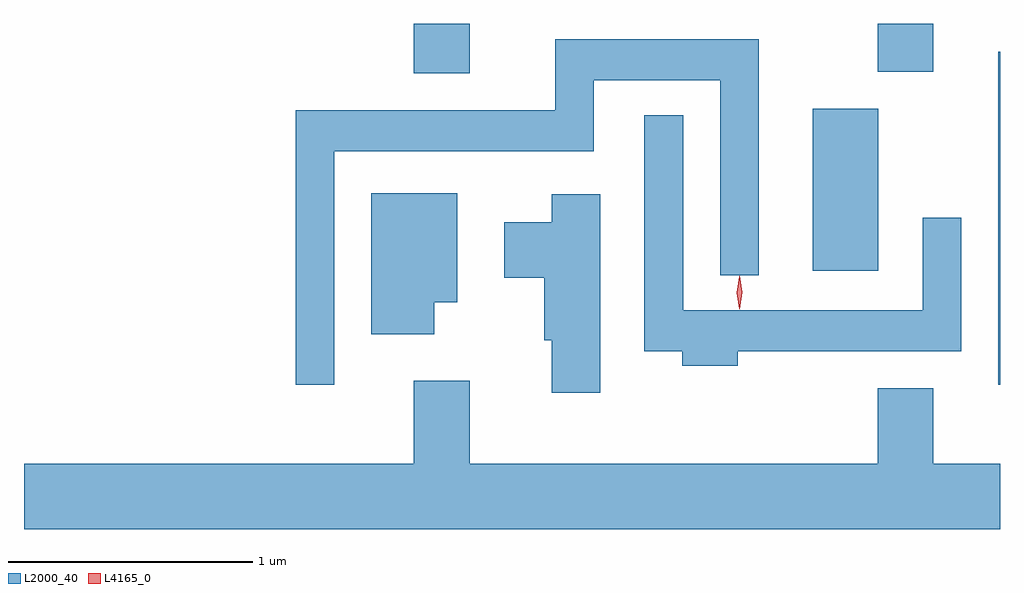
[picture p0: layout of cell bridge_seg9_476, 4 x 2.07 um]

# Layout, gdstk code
import gdstk
lib = gdstk.Library(unit=1e-6, precision=1e-09)
def R(c, l, rs):  # rectangles x0, y0, x1, y1
    for r in rs: c.add(gdstk.rectangle(r[:2], r[2:], *l))
def P(c, l, *ps):  # polygons
    for p in ps: c.add(gdstk.Polygon(p, *l))
L2000_40 = (2000, 40)
L4165_0 = (4165, 0)

bridge_seg9_476 = lib.new_cell('bridge_seg9_476')
R(bridge_seg9_476, L2000_40, [(554.196,1970.208,554.203,1971.574), (553.436,1970.676,553.704,1971.339), (551.801,1971.486,552.029,1971.688), (553.701,1971.491,553.929,1971.688)])
P(bridge_seg9_476, L2000_40, [(551.474,1971.166),(552.539,1971.166),(552.539,1971.456),(553.056,1971.456),(553.056,1970.658),(553.214,1970.658),(553.214,1971.624),(552.381,1971.624),(552.381,1971.334),(551.316,1971.334),(551.316,1970.208),(551.474,1970.208)],
  [(553.129,1970.346),(554.044,1970.346),(554.044,1970.893),(553.886,1970.893),(553.886,1970.514),(552.904,1970.514),(552.904,1971.313),(552.746,1971.313),(552.746,1970.346),(552.901,1970.346),(552.901,1970.286),(553.129,1970.286)],
  [(551.884,1970.546),(551.979,1970.546),(551.979,1970.994),(551.626,1970.994),(551.626,1970.416),(551.884,1970.416)],
  [(552.564,1970.989),(552.366,1970.989),(552.366,1970.874),(552.171,1970.874),(552.171,1970.646),(552.336,1970.646),(552.336,1970.391),(552.366,1970.391),(552.366,1970.176),(552.564,1970.176)],
  [(554.203,1969.884),(553.929,1969.884),(553.929,1970.194),(553.701,1970.194),(553.701,1969.884),(552.029,1969.884),(552.029,1970.224),(551.801,1970.224),(551.801,1969.884),(550.203,1969.884),(550.203,1969.616),(554.203,1969.616)])
P(bridge_seg9_476, L4165_0, [(553.137,1970.517),(553.136,1970.518),(553.127,1970.587),(553.136,1970.656),(553.137,1970.656),(553.137,1970.656),(553.147,1970.587),(553.137,1970.518)],
  [(553.135,1970.519),(553.135,1970.52),(553.125,1970.586),(553.135,1970.652),(553.135,1970.653),(553.136,1970.652),(553.145,1970.586),(553.136,1970.52)])

lib.write_gds('bridge_seg9_476.gds')
